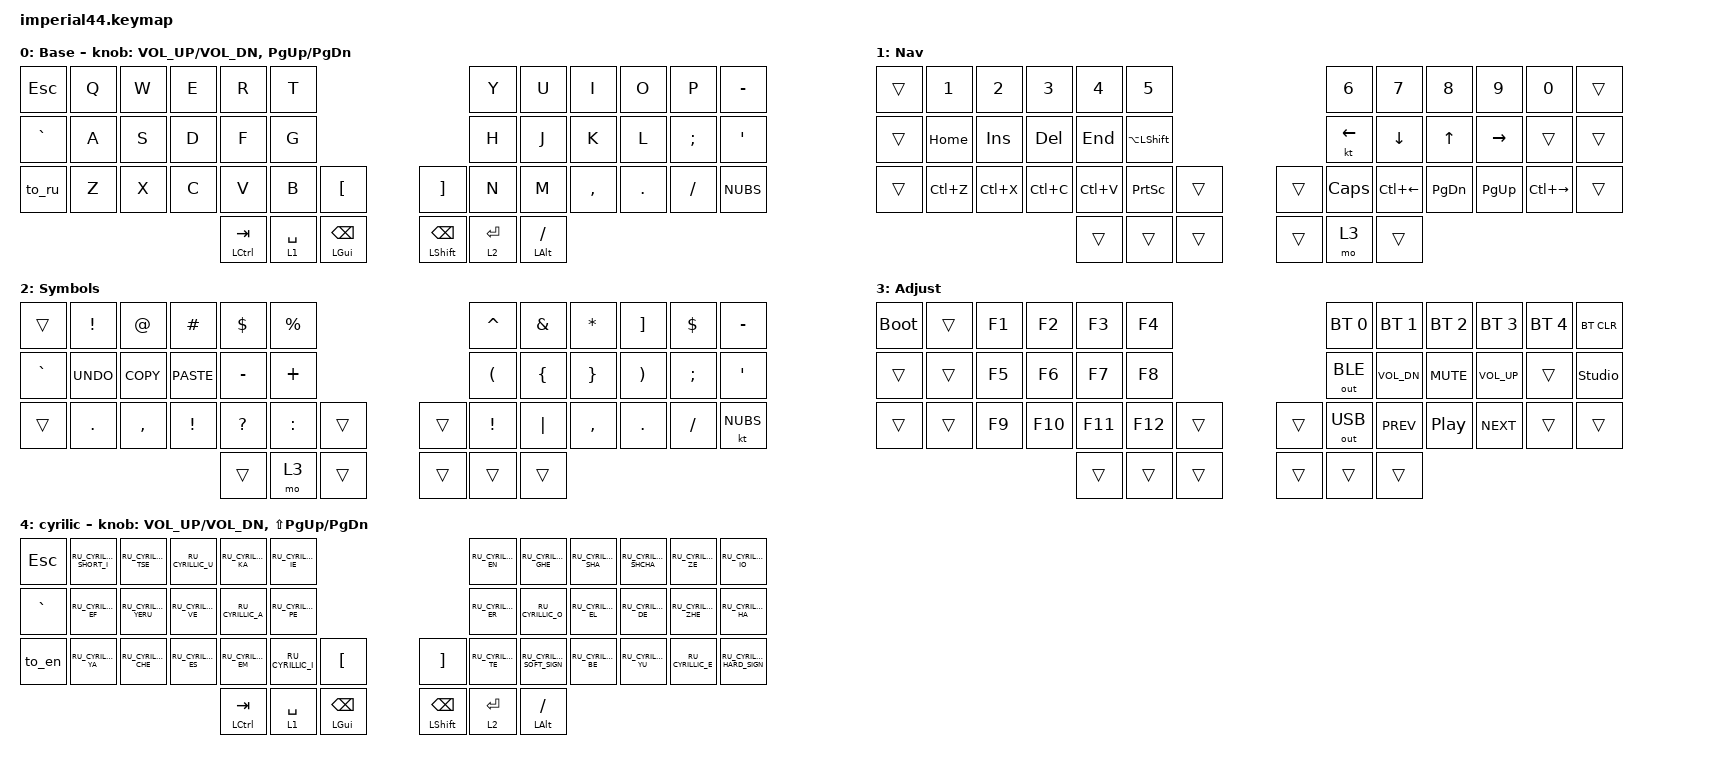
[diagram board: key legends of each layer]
#include "keys_ru.h"
#include <behaviors.dtsi>
#include <dt-bindings/zmk/bt.h>
#include <dt-bindings/zmk/keys.h>
#include <dt-bindings/zmk/outputs.h>

/ {
    macros {
        to_ru: to_ru {
            compatible = "zmk,behavior-macro";
            #binding-cells = <0>;
            bindings = <&kp LC(LS(N2)) &to 4>;
            label = "TO_RU";
        };

        to_en: to_en {
            compatible = "zmk,behavior-macro";
            #binding-cells = <0>;
            bindings = <&kp LC(LS(N1)) &to 0>;
            label = "TO_EN";
        };
    };

    keymap {
        compatible = "zmk,keymap";

        base {
            bindings = <
&kp ESC    &kp Q  &kp W  &kp E  &kp R          &kp T                                                        &kp Y        &kp U          &kp I      &kp O    &kp P     &kp MINUS
&kp GRAVE  &kp A  &kp S  &kp D  &kp F          &kp G                                                        &kp H        &kp J          &kp K      &kp L    &kp SEMI  &kp SQT
&to_ru     &kp Z  &kp X  &kp C  &kp V          &kp B        &kp LBKT              &kp RBKT                  &kp N        &kp M          &kp COMMA  &kp DOT  &kp FSLH  &kp NUBS
                                &mt LCTRL TAB  &lt 1 SPACE  &mt LGUI BACKSPACE    &mt LEFT_SHIFT BACKSPACE  &lt 2 ENTER  &mt LALT FSLH
            >;

            display-name = "Base";
            sensor-bindings =
                <&inc_dec_kp C_VOL_UP C_VOL_DN>,
                <&inc_dec_kp PG_UP PG_DN>;
        };

        nav {
            bindings = <
&trans  &kp N1     &kp N2     &kp N3      &kp N4     &kp N5                             &kp N6        &kp N7          &kp N8     &kp N9           &kp N0         &trans
&trans  &kp HOME   &kp INS    &kp DELETE  &kp END    &kp LA(LSHFT)                      &kt LEFT      &kp DOWN_ARROW  &kp UP     &kp RIGHT_ARROW  &trans         &trans
&trans  &kp LC(Z)  &kp LC(X)  &kp LC(C)   &kp LC(V)  &kp PRINTSCREEN  &trans    &trans  &kp CAPSLOCK  &kp LC(LEFT)    &kp PG_DN  &kp PG_UP        &kp LC(RIGHT)  &trans
                                          &trans     &trans           &trans    &trans  &mo 3         &trans
            >;

            display-name = "Nav";
        };

        sym {
            bindings = <
&trans     &kp EXCLAMATION  &kp AT_SIGN  &kp HASH         &kp DOLLAR    &kp PERCENT                    &kp CARET             &kp AMPERSAND   &kp ASTERISK     &kp RBKT               &kp DLLR  &kp MINUS
&kp GRAVE  &kp K_UNDO       &kp K_COPY   &kp K_PASTE      &kp MINUS     &kp PLUS                       &kp LEFT_PARENTHESIS  &kp LEFT_BRACE  &kp RIGHT_BRACE  &kp RIGHT_PARENTHESIS  &kp SEMI  &kp SQT
&trans     &kp DOT          &kp COMMA    &kp EXCLAMATION  &kp QUESTION  &kp COLON    &trans    &trans  &kp EXCL              &kp PIPE        &kp COMMA        &kp DOT                &kp FSLH  &kt NUBS
                                                          &trans        &mo 3        &trans    &trans  &trans                &trans
            >;

            display-name = "Symbols";
        };

        adj {
            bindings = <
&bootloader  &trans  &kp F1  &kp F2   &kp F3   &kp F4                     &bt BT_SEL 0  &bt BT_SEL 1  &bt BT_SEL 2      &bt BT_SEL 3  &bt BT_SEL 4  &bt BT_CLR
&trans       &trans  &kp F5  &kp F6   &kp F7   &kp F8                     &out OUT_BLE  &kp C_VOL_DN  &kp C_MUTE        &kp C_VOL_UP  &trans        &studio_unlock
&trans       &trans  &kp F9  &kp F10  &kp F11  &kp F12  &trans    &trans  &out OUT_USB  &kp C_PREV    &kp C_PLAY_PAUSE  &kp C_NEXT    &trans        &trans
                                      &trans   &trans   &trans    &trans  &trans        &trans
            >;

            display-name = "Adjust";
        };

        cyrilic {
            bindings = <
&kp ESC    &kp RU_CYRILLIC_SHORT_I  &kp RU_CYRILLIC_TSE   &kp RU_CYRILLIC_U   &kp RU_CYRILLIC_KA    &kp RU_CYRILLIC_IE                                                  &kp RU_CYRILLIC_EN  &kp RU_CYRILLIC_GHE        &kp RU_CYRILLIC_SHA  &kp RU_CYRILLIC_SHCHA  &kp RU_CYRILLIC_ZE   &kp RU_CYRILLIC_IO
&kp GRAVE  &kp RU_CYRILLIC_EF       &kp RU_CYRILLIC_YERU  &kp RU_CYRILLIC_VE  &kp RU_CYRILLIC_A     &kp RU_CYRILLIC_PE                                                  &kp RU_CYRILLIC_ER  &kp RU_CYRILLIC_O          &kp RU_CYRILLIC_EL   &kp RU_CYRILLIC_DE     &kp RU_CYRILLIC_ZHE  &kp RU_CYRILLIC_HA
&to_en     &kp RU_CYRILLIC_YA       &kp RU_CYRILLIC_CHE   &kp RU_CYRILLIC_ES  &kp RU_CYRILLIC_EM    &kp RU_CYRILLIC_I   &kp LEFT_BRACKET      &kp RIGHT_BRACKET         &kp RU_CYRILLIC_TE  &kp RU_CYRILLIC_SOFT_SIGN  &kp RU_CYRILLIC_BE   &kp RU_CYRILLIC_YU     &kp RU_CYRILLIC_E    &kp RU_CYRILLIC_HARD_SIGN
                                                                              &mt LEFT_CONTROL TAB  &lt 1 SPACE         &mt LGUI BACKSPACE    &mt LEFT_SHIFT BACKSPACE  &lt 2 ENTER         &mt LEFT_ALT FSLH
            >;

            sensor-bindings =
                <&inc_dec_kp C_VOL_UP C_VOL_DN>,
                <&inc_dec_kp LS(PAGE_UP) PAGE_DOWN>;
        };
    };
};
